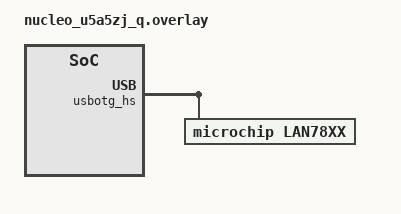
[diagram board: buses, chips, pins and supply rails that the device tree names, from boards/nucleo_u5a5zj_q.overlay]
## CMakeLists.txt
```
# SPDX-License-Identifier: Apache-2.0

cmake_minimum_required(VERSION 3.28.0)
find_package(Zephyr REQUIRED HINTS $ENV{ZEPHYR_BASE})
project(dhcpv4_client)

FILE(GLOB app_sources src/*.c)
target_sources(app PRIVATE ${app_sources})
```

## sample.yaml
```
sample:
  name: DHCP Client
tests:
  sample.net.dhcpv4_client:
    harness: net
    depends_on: netif
    tags:
      - net
      - http
  sample.net.dhcpv4_client.qemu:
    harness: console
    harness_config:
      type: multi_line
      regex:
        - "Run dhcpv4 client"
        - "Address\\[[0-9]+\\]: 10\\.0\\.2\\."
    platform_allow:
      - qemu_riscv64
    extra_configs:
      - CONFIG_NET_QEMU_USER=y
```

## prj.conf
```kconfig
CONFIG_NETWORKING=y
CONFIG_NET_IPV6=n
CONFIG_NET_IPV4=y
CONFIG_NET_ARP=y
CONFIG_NET_UDP=y
CONFIG_NET_DHCPV4=y
CONFIG_NET_DHCPV4_OPTION_CALLBACKS=y
CONFIG_DNS_RESOLVER=y

CONFIG_TEST_RANDOM_GENERATOR=y

CONFIG_INIT_STACKS=y

CONFIG_NET_MGMT=y
CONFIG_NET_MGMT_EVENT=y

CONFIG_NET_LOG=y
CONFIG_LOG=y

CONFIG_SLIP_STATISTICS=n
CONFIG_SHELL=y
CONFIG_NET_SHELL=y
```

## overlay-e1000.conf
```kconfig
CONFIG_NET_QEMU_ETHERNET=y

#CONFIG_ETHERNET_LOG_LEVEL_DBG=y
```

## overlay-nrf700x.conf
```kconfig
# Wi-Fi
CONFIG_WIFI=y
CONFIG_WIFI_NRF700X=y
CONFIG_WPA_SUPP=y
CONFIG_NET_L2_ETHERNET=y

# Connection manager
CONFIG_NET_CONNECTION_MANAGER=y

# Credentials
CONFIG_WIFI_CREDENTIALS=y
CONFIG_WIFI_CREDENTIALS_STATIC=y
CONFIG_WIFI_CREDENTIALS_STATIC_SSID=""
CONFIG_WIFI_CREDENTIALS_STATIC_PASSWORD=""
```

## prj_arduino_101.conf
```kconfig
CONFIG_NETWORKING=y
CONFIG_NET_IPV6=n
CONFIG_NET_IPV4=y
CONFIG_NET_ARP=y
CONFIG_NET_UDP=y
CONFIG_NET_DHCPV4=y
CONFIG_NET_BUF=y
CONFIG_NET_PKT_RX_COUNT=4
CONFIG_NET_PKT_TX_COUNT=4
CONFIG_NET_BUF_RX_COUNT=5
CONFIG_NET_BUF_TX_COUNT=5
CONFIG_TEST_RANDOM_GENERATOR=y
CONFIG_NET_IF_UNICAST_IPV4_ADDR_COUNT=1

CONFIG_NET_LOG=y
CONFIG_SYS_LOG=y
CONFIG_SYS_LOG_SHOW_COLOR=y
CONFIG_NET_DEBUG_CORE=y
CONFIG_NET_DEBUG_IF=y
CONFIG_NET_DEBUG_DHCPV4=y
CONFIG_NET_DEBUG_ARP=y
CONFIG_NET_DEBUG_L2_ETHERNET=y
CONFIG_NET_DEBUG_IPV4=y
CONFIG_NET_DEBUG_ICMPV4=y
CONFIG_NET_DEBUG_UDP=y
CONFIG_NET_RX_STACK_SIZE=2048

CONFIG_NET_L2_ETHERNET=y

CONFIG_SPI=y
CONFIG_SPI_CS_GPIO=y
CONFIG_SPI_1_CS_GPIO_PORT="GPIO_0"
CONFIG_SPI_1_CS_GPIO_PIN=0

CONFIG_SYS_LOG_ETHERNET_LEVEL=1
CONFIG_ETH_ENC28J60=y
CONFIG_ETH_ENC28J60_0=y
CONFIG_ETH_ENC28J60_0_SPI_PORT_NAME="SPI_1"
CONFIG_ETH_ENC28J60_0_SPI_BUS_FREQ=2
CONFIG_ETH_ENC28J60_0_MAC3=0x0a
CONFIG_ETH_ENC28J60_0_MAC4=0x0b
CONFIG_ETH_ENC28J60_0_MAC5=0x0c

CONFIG_NET_MGMT=y
CONFIG_NET_MGMT_EVENT=y
```

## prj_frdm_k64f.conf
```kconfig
CONFIG_NETWORKING=y
CONFIG_NET_IPV6=n
CONFIG_NET_IPV4=y
CONFIG_NET_ARP=y
CONFIG_NET_UDP=y
CONFIG_NET_DHCPV4=y
CONFIG_NET_PKT_RX_COUNT=4
CONFIG_NET_PKT_TX_COUNT=4
CONFIG_NET_BUF_RX_COUNT=16
CONFIG_NET_BUF_TX_COUNT=16

CONFIG_INIT_STACKS=y

CONFIG_NET_LOG=y
CONFIG_SYS_LOG=y
CONFIG_SYS_LOG_SHOW_COLOR=y
CONFIG_SYS_LOG_NET_LEVEL=4

CONFIG_NET_DEBUG_CORE=n
CONFIG_NET_DEBUG_IF=n
CONFIG_NET_DEBUG_IPV4=n
CONFIG_NET_DEBUG_CONN=n
CONFIG_NET_DEBUG_DHCPV4=y
CONFIG_NET_DEBUG_ARP=n
CONFIG_NET_DEBUG_L2_ETHERNET=n

CONFIG_NET_L2_ETHERNET=y
CONFIG_SYS_LOG_ETHERNET_LEVEL=1

CONFIG_NET_RX_STACK_SIZE=2048

CONFIG_NET_MGMT=y
CONFIG_NET_MGMT_EVENT=y
```

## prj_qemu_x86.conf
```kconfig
CONFIG_NETWORKING=y
CONFIG_NET_IPV6=n
CONFIG_NET_IPV4=y
CONFIG_NET_ARP=y
CONFIG_NET_UDP=y
CONFIG_NET_DHCPV4=y

CONFIG_NET_PKT_RX_COUNT=4
CONFIG_NET_PKT_TX_COUNT=4
CONFIG_NET_BUF_RX_COUNT=14
CONFIG_NET_BUF_TX_COUNT=14

CONFIG_TEST_RANDOM_GENERATOR=y

CONFIG_INIT_STACKS=y

CONFIG_NET_MGMT=y
CONFIG_NET_MGMT_EVENT=y

CONFIG_NET_LOG=y
CONFIG_SYS_LOG=y
CONFIG_SYS_LOG_NET_LEVEL=4
CONFIG_SYS_LOG_SHOW_COLOR=y

CONFIG_NET_DEBUG_CORE=n
CONFIG_NET_DEBUG_IF=n
CONFIG_NET_DEBUG_IPV4=n
CONFIG_NET_DEBUG_UDP=n
CONFIG_NET_DEBUG_DHCPV4=n
CONFIG_NET_DEBUG_CONN=n
CONFIG_NET_DEBUG_ARP=n
CONFIG_NET_DEBUG_L2_ETHERNET=n

CONFIG_SLIP_DEBUG=n
CONFIG_SLIP_STATISTICS=n
```

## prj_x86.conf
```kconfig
CONFIG_NETWORKING=y
CONFIG_NET_IPV6=n
CONFIG_NET_IPV4=y
CONFIG_NET_ARP=y
CONFIG_NET_UDP=y
CONFIG_NET_SLIP=y
CONFIG_SLIP_TAP=y
CONFIG_NET_DHCPV4=y
CONFIG_NET_BUF=y
CONFIG_NET_NBUF_RX_COUNT=4
CONFIG_NET_NBUF_TX_COUNT=4
CONFIG_NET_NBUF_DATA_COUNT=14
CONFIG_TEST_RANDOM_GENERATOR=y
CONFIG_NET_IF_UNICAST_IPV4_ADDR_COUNT=1

CONFIG_NET_LOG=y
CONFIG_SYS_LOG=y
CONFIG_SYS_LOG_SHOW_COLOR=y
CONFIG_NET_DEBUG_CORE=y
CONFIG_NET_DEBUG_IF=y
CONFIG_NET_DEBUG_DHCPV4=y
CONFIG_SLIP_DEBUG=n
CONFIG_SLIP_STATISTICS=n
CONFIG_NET_DEBUG_ARP=y
CONFIG_NET_DEBUG_L2_ETHERNET=y
```

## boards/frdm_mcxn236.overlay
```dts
&zephyr_udc0 {
	status = "disabled";
};

&zephyr_uhc0 {
	status = "okay";
};
```

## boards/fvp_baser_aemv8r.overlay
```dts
&eth {
	status = "okay";
};

&phy {
	status = "okay";
};

&mdio {
	status = "okay";
};
```

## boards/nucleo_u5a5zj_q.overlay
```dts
/*
 * SPDX-FileCopyrightText: Copyright (c) 2026 Narek Aydinyan
 * SPDX-License-Identifier: Apache-2.0
 */

/ {
	chosen {
		zephyr,uhc = &usbotg_hs;
	};
};

&usbotg_hs {
	dr-mode = "host";

	lan78xx: ethernet {
		compatible = "microchip,lan78xx";
		local-mac-address = [02 00 00 00 00 01];
		status = "okay";
	};
};
```

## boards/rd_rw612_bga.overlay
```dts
/*
 * Copyright 2025 NXP
 *
 * SPDX-License-Identifier: Apache-2.0
 */

/ {
	usbh_cdc_ecm {
		compatible = "zephyr,cdc-ecm-host";
		status = "okay";
	};
};

&xtal32 {
	status = "disabled";
};
```

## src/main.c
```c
/* Networking DHCPv4 client */

/*
 * Copyright (c) 2017 ARM Ltd.
 * Copyright (c) 2016 Intel Corporation.
 *
 * SPDX-License-Identifier: Apache-2.0
 */

#include <zephyr/logging/log.h>
LOG_MODULE_REGISTER(net_dhcpv4_client_sample, LOG_LEVEL_DBG);

#include <zephyr/kernel.h>
#if defined(CONFIG_USB_HOST_STACK)
#include <zephyr/device.h>
#include <zephyr/usb/usbh.h>

USBH_CONTROLLER_DEFINE(uhs_ctx, DEVICE_DT_GET(DT_NODELABEL(zephyr_uhc0)));
#endif
#include <zephyr/linker/sections.h>
#include <errno.h>
#include <stdio.h>

#include <zephyr/net/net_if.h>
#include <zephyr/net/net_core.h>
#include <zephyr/net/net_context.h>
#include <zephyr/net/net_mgmt.h>

#define DHCP_OPTION_NTP (42)

static uint8_t ntp_server[4];

static struct net_mgmt_event_callback mgmt_cb;

static struct net_dhcpv4_option_callback dhcp_cb;

static void start_dhcpv4_client(struct net_if *iface, void *user_data)
{
	ARG_UNUSED(user_data);

	LOG_INF("Start on %s: index=%d", net_if_get_device(iface)->name,
		net_if_get_by_iface(iface));
	net_dhcpv4_start(iface);
}

static void handler(struct net_mgmt_event_callback *cb,
		    uint64_t mgmt_event,
		    struct net_if *iface)
{
	struct net_if_config *cfg = net_if_get_config(iface);
	int i = 0;

	if (mgmt_event != NET_EVENT_IPV4_ADDR_ADD) {
		return;
	}

	for (i = 0; i < NET_IF_MAX_IPV4_ADDR; i++) {
		char buf[NET_IPV4_ADDR_LEN];

		if (cfg->ip.ipv4->unicast[i].ipv4.addr_type !=
							NET_ADDR_DHCP) {
			continue;
		}

		LOG_INF("   Address[%d]: %s", net_if_get_by_iface(iface),
			net_addr_ntop(NET_AF_INET,
			    &cfg->ip.ipv4->unicast[i].ipv4.address.in_addr,
						  buf, sizeof(buf)));
		LOG_INF("    Subnet[%d]: %s", net_if_get_by_iface(iface),
			net_addr_ntop(NET_AF_INET,
				       &cfg->ip.ipv4->unicast[i].netmask,
				       buf, sizeof(buf)));
		LOG_INF("    Router[%d]: %s", net_if_get_by_iface(iface),
			net_addr_ntop(NET_AF_INET,
						 &cfg->ip.ipv4->gw,
						 buf, sizeof(buf)));
		LOG_INF("Lease time[%d]: %u seconds", net_if_get_by_iface(iface),
			cfg->dhcpv4.lease_time);
	}
}

static void option_handler(struct net_dhcpv4_option_callback *cb,
			   size_t length,
			   enum net_dhcpv4_msg_type msg_type,
			   struct net_if *iface)
{
	char buf[NET_IPV4_ADDR_LEN];

	LOG_INF("DHCP Option %d: %s", cb->option,
		net_addr_ntop(NET_AF_INET, cb->data, buf, sizeof(buf)));
}

int main(void)
{
#if defined(CONFIG_USB_HOST_STACK)
	int err;

	LOG_INF("Starting USB host");

	err = usbh_init(&uhs_ctx);
	if (err) {
		LOG_ERR("USB host initialization failed: %d", err);
		return err;
	}

	err = usbh_enable(&uhs_ctx);
	if (err) {
		LOG_ERR("USB host enable failed: %d", err);
		return err;
	}
#endif

	LOG_INF("Run dhcpv4 client");

	net_mgmt_init_event_callback(&mgmt_cb, handler,
				     NET_EVENT_IPV4_ADDR_ADD);
	net_mgmt_add_event_callback(&mgmt_cb);

	net_dhcpv4_init_option_callback(&dhcp_cb, option_handler,
					DHCP_OPTION_NTP, ntp_server,
					sizeof(ntp_server));

	net_dhcpv4_add_option_callback(&dhcp_cb);

	net_if_foreach(start_dhcpv4_client, NULL);
	return 0;
}
```
